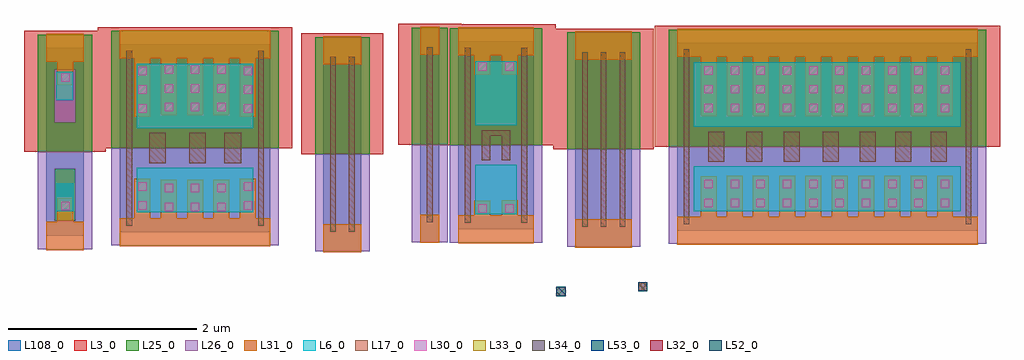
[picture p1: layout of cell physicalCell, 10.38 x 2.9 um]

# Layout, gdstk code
import gdstk
lib = gdstk.Library(unit=1e-6, precision=1e-09)
def R(c, l, rs):  # rectangles x0, y0, x1, y1
    for r in rs: c.add(gdstk.rectangle(r[:2], r[2:], *l))
def A(c, l, x, y, w, h, nx, ny, dx, dy):  # array of equal rectangles
    R(c, l, [(x+i*dx, y+j*dy, x+i*dx+w, y+j*dy+h) for i in range(nx) for j in range(ny)])
def P(c, l, *ps):  # polygons
    for p in ps: c.add(gdstk.Polygon(p, *l))
L3_0 = (3, 0)
L6_0 = (6, 0)
L17_0 = (17, 0)
L25_0 = (25, 0)
L26_0 = (26, 0)
L30_0 = (30, 0)
L31_0 = (31, 0)
L32_0 = (32, 0)
L33_0 = (33, 0)
L34_0 = (34, 0)
L52_0 = (52, 0)
L53_0 = (53, 0)
L108_0 = (108, 0)

dti_55g_10t_fillerx1 = lib.new_cell('dti_55g_10t_fillerx1')
R(dti_55g_10t_fillerx1, L3_0, [(-0.235,0.895,0.435,2.18)])
R(dti_55g_10t_fillerx1, L17_0, [(0.07,0.07,0.13,1.93)])
R(dti_55g_10t_fillerx1, L25_0, [(-0.09,0.895,0.29,2.14)])
R(dti_55g_10t_fillerx1, L26_0, [(-0.09,-0.14,0.29,0.895)])
R(dti_55g_10t_fillerx1, L31_0, [(0,-0.15,0.2,0.15), (0,1.85,0.2,2.15)])
R(dti_55g_10t_fillerx1, L108_0, [(0,-0.15,0.2,2.15)])
dti_55g_10t_fillerx1.add(gdstk.Label('& Metric 0.4', (0,0), layer=6, texttype=0))
dti_55g_10t_fillerx1.add(gdstk.Label('& _Instance_tag dti_55g_10t_fillerx1', (0,0), layer=6, texttype=0))
dti_55g_10t_fillerx1.add(gdstk.Label('& Product dti_tm55gp_stdcells$CLN55GPLUS-1.0-2.5-ACU-LK$SVT', (0,0), layer=6, texttype=0))
dti_55g_10t_fillerx1.add(gdstk.Label('& Version 1.0.0$T-N65-CL-DR-001-C1$2.4a$T-N55-CL-SP-010$V1.2', (0,0), layer=6, texttype=0))
dti_55g_10t_fillerx1.add(gdstk.Label('& Vendor Dolphin Technology, Inc.', (0,0), layer=6, texttype=0))
dti_55g_10t_fillerx1.add(gdstk.Label('& Metric 0.4', (0,0), layer=26, texttype=0))
dti_55g_10t_fillerx1.add(gdstk.Label('& _Instance_tag dti_55g_10t_fillerx1', (0,0), layer=26, texttype=0))
dti_55g_10t_fillerx1.add(gdstk.Label('& Product dti_tm55gp_stdcells$CLN55GPLUS-1.0-2.5-ACU-LK$SVT', (0,0), layer=26, texttype=0))
dti_55g_10t_fillerx1.add(gdstk.Label('& Version 1.0.0$T-N65-CL-DR-001-C1$2.4a$T-N55-CL-SP-010$V1.2', (0,0), layer=26, texttype=0))
dti_55g_10t_fillerx1.add(gdstk.Label('& Vendor Dolphin Technology, Inc.', (0,0), layer=26, texttype=0))
dti_55g_10t_fillerx1.add(gdstk.Label('& Metric 0.4', (0,0), layer=3, texttype=0))
dti_55g_10t_fillerx1.add(gdstk.Label('& _Instance_tag dti_55g_10t_fillerx1', (0,0), layer=3, texttype=0))
dti_55g_10t_fillerx1.add(gdstk.Label('& Product dti_tm55gp_stdcells$CLN55GPLUS-1.0-2.5-ACU-LK$SVT', (0,0), layer=3, texttype=0))
dti_55g_10t_fillerx1.add(gdstk.Label('& Version 1.0.0$T-N65-CL-DR-001-C1$2.4a$T-N55-CL-SP-010$V1.2', (0,0), layer=3, texttype=0))
dti_55g_10t_fillerx1.add(gdstk.Label('& Vendor Dolphin Technology, Inc.', (0,0), layer=3, texttype=0))
dti_55g_10t_fillerx1.add(gdstk.Label('& Metric 0.4', (0,0), layer=25, texttype=0))
dti_55g_10t_fillerx1.add(gdstk.Label('& _Instance_tag dti_55g_10t_fillerx1', (0,0), layer=25, texttype=0))
dti_55g_10t_fillerx1.add(gdstk.Label('& Product dti_tm55gp_stdcells$CLN55GPLUS-1.0-2.5-ACU-LK$SVT', (0,0), layer=25, texttype=0))
dti_55g_10t_fillerx1.add(gdstk.Label('& Version 1.0.0$T-N65-CL-DR-001-C1$2.4a$T-N55-CL-SP-010$V1.2', (0,0), layer=25, texttype=0))
dti_55g_10t_fillerx1.add(gdstk.Label('& Vendor Dolphin Technology, Inc.', (0,0), layer=25, texttype=0))
dti_55g_10t_fillerx1.add(gdstk.Label('VDD', (0.11,2), layer=131, texttype=0))
dti_55g_10t_fillerx1.add(gdstk.Label('VSS', (0.12,0), layer=131, texttype=0))
dti_55g_10t_fillerx1.add(gdstk.Label('& Metric 0.4', (0,0), layer=63, texttype=63))
dti_55g_10t_fillerx1.add(gdstk.Label('& _Instance_tag dti_55g_10t_fillerx1', (0,0), layer=63, texttype=63))
dti_55g_10t_fillerx1.add(gdstk.Label('& Product dti_tm55gp_stdcells$CLN55GPLUS-1.0-2.5-ACU-LK$SVT', (0,0), layer=63, texttype=63))
dti_55g_10t_fillerx1.add(gdstk.Label('& Version 1.0.0$T-N65-CL-DR-001-C1$2.4a$T-N55-CL-SP-010$V1.2', (0,0), layer=63, texttype=63))
dti_55g_10t_fillerx1.add(gdstk.Label('& Vendor Dolphin Technology, Inc.', (0,0), layer=63, texttype=63))

dti_55g_10t_fillerx4 = lib.new_cell('dti_55g_10t_fillerx4')
R(dti_55g_10t_fillerx4, L3_0, [(-0.235,0.895,1.035,2.18)])
R(dti_55g_10t_fillerx4, L6_0, [(0.18,0.16,0.62,0.685), (0.18,1.105,0.62,1.79)])
R(dti_55g_10t_fillerx4, L17_0, [(0.07,0.07,0.13,1.93), (0.67,0.07,0.73,1.93)])
P(dti_55g_10t_fillerx4, L17_0, [(0.25,0.735),(0.25,1.055),(0.55,1.055),(0.55,0.735),(0.46,0.735),(0.46,0.995),(0.34,0.995),(0.34,0.735)])
R(dti_55g_10t_fillerx4, L25_0, [(-0.09,0.895,0.89,2.14)])
R(dti_55g_10t_fillerx4, L26_0, [(-0.09,-0.14,0.89,0.895)])
R(dti_55g_10t_fillerx4, L30_0, [(0.21,0.175,0.3,0.265), (0.5,0.175,0.59,0.265), (0.21,1.685,0.3,1.775), (0.5,1.685,0.59,1.775)])
P(dti_55g_10t_fillerx4, L31_0, [(0,-0.15),(0,0.15),(0.17,0.15),(0.17,0.305),(0.34,0.305),(0.34,0.15),(0.46,0.15),(0.46,0.31),(0.63,0.31),(0.63,0.15),(0.8,0.15),(0.8,-0.15)],
  [(0.17,1.645),(0.17,1.85),(0,1.85),(0,2.15),(0.8,2.15),(0.8,1.85),(0.63,1.85),(0.63,1.645),(0.46,1.645),(0.46,1.85),(0.34,1.85),(0.34,1.645)])
R(dti_55g_10t_fillerx4, L108_0, [(0,0,0.8,2)])
dti_55g_10t_fillerx4.add(gdstk.Label('& Metric 1.6', (0,0), layer=6, texttype=0))
dti_55g_10t_fillerx4.add(gdstk.Label('& _Instance_tag dti_55g_10t_fillerx4', (0,0), layer=6, texttype=0))
dti_55g_10t_fillerx4.add(gdstk.Label('& Product dti_tm55gp_stdcells$CLN55GPLUS-1.0-2.5-ACU-LK$SVT', (0,0), layer=6, texttype=0))
dti_55g_10t_fillerx4.add(gdstk.Label('& Version 1.0.0$T-N65-CL-DR-001-C1$2.4a$T-N55-CL-SP-010$V1.2', (0,0), layer=6, texttype=0))
dti_55g_10t_fillerx4.add(gdstk.Label('& Vendor Dolphin Technology, Inc.', (0,0), layer=6, texttype=0))
dti_55g_10t_fillerx4.add(gdstk.Label('& Metric 1.6', (0,0), layer=26, texttype=0))
dti_55g_10t_fillerx4.add(gdstk.Label('& _Instance_tag dti_55g_10t_fillerx4', (0,0), layer=26, texttype=0))
dti_55g_10t_fillerx4.add(gdstk.Label('& Product dti_tm55gp_stdcells$CLN55GPLUS-1.0-2.5-ACU-LK$SVT', (0,0), layer=26, texttype=0))
dti_55g_10t_fillerx4.add(gdstk.Label('& Version 1.0.0$T-N65-CL-DR-001-C1$2.4a$T-N55-CL-SP-010$V1.2', (0,0), layer=26, texttype=0))
dti_55g_10t_fillerx4.add(gdstk.Label('& Vendor Dolphin Technology, Inc.', (0,0), layer=26, texttype=0))
dti_55g_10t_fillerx4.add(gdstk.Label('& Metric 1.6', (0,0), layer=3, texttype=0))
dti_55g_10t_fillerx4.add(gdstk.Label('& _Instance_tag dti_55g_10t_fillerx4', (0,0), layer=3, texttype=0))
dti_55g_10t_fillerx4.add(gdstk.Label('& Product dti_tm55gp_stdcells$CLN55GPLUS-1.0-2.5-ACU-LK$SVT', (0,0), layer=3, texttype=0))
dti_55g_10t_fillerx4.add(gdstk.Label('& Version 1.0.0$T-N65-CL-DR-001-C1$2.4a$T-N55-CL-SP-010$V1.2', (0,0), layer=3, texttype=0))
dti_55g_10t_fillerx4.add(gdstk.Label('& Vendor Dolphin Technology, Inc.', (0,0), layer=3, texttype=0))
dti_55g_10t_fillerx4.add(gdstk.Label('& Metric 1.6', (0,0), layer=25, texttype=0))
dti_55g_10t_fillerx4.add(gdstk.Label('& _Instance_tag dti_55g_10t_fillerx4', (0,0), layer=25, texttype=0))
dti_55g_10t_fillerx4.add(gdstk.Label('& Product dti_tm55gp_stdcells$CLN55GPLUS-1.0-2.5-ACU-LK$SVT', (0,0), layer=25, texttype=0))
dti_55g_10t_fillerx4.add(gdstk.Label('& Version 1.0.0$T-N65-CL-DR-001-C1$2.4a$T-N55-CL-SP-010$V1.2', (0,0), layer=25, texttype=0))
dti_55g_10t_fillerx4.add(gdstk.Label('& Vendor Dolphin Technology, Inc.', (0,0), layer=25, texttype=0))
dti_55g_10t_fillerx4.add(gdstk.Label('VSS', (0.12,0), layer=131, texttype=0))
dti_55g_10t_fillerx4.add(gdstk.Label('VDD', (0.12,2), layer=131, texttype=0))
dti_55g_10t_fillerx4.add(gdstk.Label('& Metric 1.6', (0,0), layer=63, texttype=63))
dti_55g_10t_fillerx4.add(gdstk.Label('& _Instance_tag dti_55g_10t_fillerx4', (0,0), layer=63, texttype=63))
dti_55g_10t_fillerx4.add(gdstk.Label('& Product dti_tm55gp_stdcells$CLN55GPLUS-1.0-2.5-ACU-LK$SVT', (0,0), layer=63, texttype=63))
dti_55g_10t_fillerx4.add(gdstk.Label('& Version 1.0.0$T-N65-CL-DR-001-C1$2.4a$T-N55-CL-SP-010$V1.2', (0,0), layer=63, texttype=63))
dti_55g_10t_fillerx4.add(gdstk.Label('& Vendor Dolphin Technology, Inc.', (0,0), layer=63, texttype=63))

dti_55g_10t_fillerx2 = lib.new_cell('dti_55g_10t_fillerx2')
R(dti_55g_10t_fillerx2, L3_0, [(-0.235,0.895,0.635,2.18)])
R(dti_55g_10t_fillerx2, L17_0, [(0.07,0.07,0.13,1.93), (0.27,0.07,0.33,1.93)])
R(dti_55g_10t_fillerx2, L25_0, [(-0.09,0.895,0.49,2.14)])
R(dti_55g_10t_fillerx2, L26_0, [(-0.09,-0.14,0.49,0.895)])
R(dti_55g_10t_fillerx2, L31_0, [(0,-0.15,0.4,0.15), (0,1.85,0.4,2.15)])
R(dti_55g_10t_fillerx2, L108_0, [(0,-0.15,0.4,2.15)])
dti_55g_10t_fillerx2.add(gdstk.Label('& Metric 0.8', (0,0), layer=6, texttype=0))
dti_55g_10t_fillerx2.add(gdstk.Label('& _Instance_tag dti_55g_10t_fillerx2', (0,0), layer=6, texttype=0))
dti_55g_10t_fillerx2.add(gdstk.Label('& Product dti_tm55gp_stdcells$CLN55GPLUS-1.0-2.5-ACU-LK$SVT', (0,0), layer=6, texttype=0))
dti_55g_10t_fillerx2.add(gdstk.Label('& Version 1.0.0$T-N65-CL-DR-001-C1$2.4a$T-N55-CL-SP-010$V1.2', (0,0), layer=6, texttype=0))
dti_55g_10t_fillerx2.add(gdstk.Label('& Vendor Dolphin Technology, Inc.', (0,0), layer=6, texttype=0))
dti_55g_10t_fillerx2.add(gdstk.Label('& Metric 0.8', (0,0), layer=26, texttype=0))
dti_55g_10t_fillerx2.add(gdstk.Label('& _Instance_tag dti_55g_10t_fillerx2', (0,0), layer=26, texttype=0))
dti_55g_10t_fillerx2.add(gdstk.Label('& Product dti_tm55gp_stdcells$CLN55GPLUS-1.0-2.5-ACU-LK$SVT', (0,0), layer=26, texttype=0))
dti_55g_10t_fillerx2.add(gdstk.Label('& Version 1.0.0$T-N65-CL-DR-001-C1$2.4a$T-N55-CL-SP-010$V1.2', (0,0), layer=26, texttype=0))
dti_55g_10t_fillerx2.add(gdstk.Label('& Vendor Dolphin Technology, Inc.', (0,0), layer=26, texttype=0))
dti_55g_10t_fillerx2.add(gdstk.Label('& Metric 0.8', (0,0), layer=3, texttype=0))
dti_55g_10t_fillerx2.add(gdstk.Label('& _Instance_tag dti_55g_10t_fillerx2', (0,0), layer=3, texttype=0))
dti_55g_10t_fillerx2.add(gdstk.Label('& Product dti_tm55gp_stdcells$CLN55GPLUS-1.0-2.5-ACU-LK$SVT', (0,0), layer=3, texttype=0))
dti_55g_10t_fillerx2.add(gdstk.Label('& Version 1.0.0$T-N65-CL-DR-001-C1$2.4a$T-N55-CL-SP-010$V1.2', (0,0), layer=3, texttype=0))
dti_55g_10t_fillerx2.add(gdstk.Label('& Vendor Dolphin Technology, Inc.', (0,0), layer=3, texttype=0))
dti_55g_10t_fillerx2.add(gdstk.Label('& Metric 0.8', (0,0), layer=25, texttype=0))
dti_55g_10t_fillerx2.add(gdstk.Label('& _Instance_tag dti_55g_10t_fillerx2', (0,0), layer=25, texttype=0))
dti_55g_10t_fillerx2.add(gdstk.Label('& Product dti_tm55gp_stdcells$CLN55GPLUS-1.0-2.5-ACU-LK$SVT', (0,0), layer=25, texttype=0))
dti_55g_10t_fillerx2.add(gdstk.Label('& Version 1.0.0$T-N65-CL-DR-001-C1$2.4a$T-N55-CL-SP-010$V1.2', (0,0), layer=25, texttype=0))
dti_55g_10t_fillerx2.add(gdstk.Label('& Vendor Dolphin Technology, Inc.', (0,0), layer=25, texttype=0))
dti_55g_10t_fillerx2.add(gdstk.Label('VDD', (0.11,2), layer=131, texttype=0))
dti_55g_10t_fillerx2.add(gdstk.Label('VSS', (0.12,0), layer=131, texttype=0))
dti_55g_10t_fillerx2.add(gdstk.Label('& Metric 0.8', (0,0), layer=63, texttype=63))
dti_55g_10t_fillerx2.add(gdstk.Label('& _Instance_tag dti_55g_10t_fillerx2', (0,0), layer=63, texttype=63))
dti_55g_10t_fillerx2.add(gdstk.Label('& Product dti_tm55gp_stdcells$CLN55GPLUS-1.0-2.5-ACU-LK$SVT', (0,0), layer=63, texttype=63))
dti_55g_10t_fillerx2.add(gdstk.Label('& Version 1.0.0$T-N65-CL-DR-001-C1$2.4a$T-N55-CL-SP-010$V1.2', (0,0), layer=63, texttype=63))
dti_55g_10t_fillerx2.add(gdstk.Label('& Vendor Dolphin Technology, Inc.', (0,0), layer=63, texttype=63))

dti_55g_10t_fillerx8 = lib.new_cell('dti_55g_10t_fillerx8')
R(dti_55g_10t_fillerx8, L3_0, [(-0.235,0.895,1.835,2.18)])
R(dti_55g_10t_fillerx8, L6_0, [(0.18,0.21,1.42,0.685), (0.18,1.105,1.42,1.79)])
R(dti_55g_10t_fillerx8, L17_0, [(0.07,0.07,0.13,1.93), (1.47,0.07,1.53,1.93), (0.31,0.735,0.49,1.055), (0.735,0.735,0.915,1.055), (1.11,0.735,1.29,1.055)])
R(dti_55g_10t_fillerx8, L25_0, [(-0.09,0.895,1.69,2.14)])
R(dti_55g_10t_fillerx8, L26_0, [(-0.09,-0.14,1.69,0.895)])
A(dti_55g_10t_fillerx8, L30_0, 0.475, 0.225, 0.09, 0.09, 3, 2, 0.28, 0.2)
A(dti_55g_10t_fillerx8, L30_0, 0.195, 1.27, 0.09, 0.09, 1, 3, 0, 0.2)
A(dti_55g_10t_fillerx8, L30_0, 1.315, 1.27, 0.09, 0.09, 1, 3, 0, 0.2)
A(dti_55g_10t_fillerx8, L30_0, 0.475, 1.285, 0.09, 0.09, 3, 3, 0.28, 0.2)
R(dti_55g_10t_fillerx8, L30_0, [(0.195,0.24,0.285,0.33), (1.315,0.24,1.405,0.33), (0.195,0.44,0.285,0.53), (1.315,0.44,1.405,0.53)])
P(dti_55g_10t_fillerx8, L31_0, [(0,-0.15),(0,0.15),(0.155,0.15),(0.155,0.57),(0.325,0.57),(0.325,0.15),(0.435,0.15),(0.435,0.555),(0.605,0.555),(0.605,0.15),(0.715,0.15),(0.715,0.555),(0.885,0.555),(0.885,0.15),(0.995,0.15),(0.995,0.555),(1.165,0.555),(1.165,0.15),(1.275,0.15),(1.275,0.57),(1.445,0.57),(1.445,0.15),(1.6,0.15),(1.6,-0.15)],
  [(0.155,1.23),(0.155,1.85),(0,1.85),(0,2.15),(1.6,2.15),(1.6,1.85),(1.445,1.85),(1.445,1.23),(1.275,1.23),(1.275,1.85),(1.165,1.85),(1.165,1.245),(0.995,1.245),(0.995,1.85),(0.885,1.85),(0.885,1.245),(0.715,1.245),(0.715,1.85),(0.605,1.85),(0.605,1.245),(0.435,1.245),(0.435,1.85),(0.325,1.85),(0.325,1.23)])
R(dti_55g_10t_fillerx8, L108_0, [(0,0,1.6,2)])
dti_55g_10t_fillerx8.add(gdstk.Label('& Metric 3.2', (0,0), layer=6, texttype=0))
dti_55g_10t_fillerx8.add(gdstk.Label('& _Instance_tag dti_55g_10t_fillerx8', (0,0), layer=6, texttype=0))
dti_55g_10t_fillerx8.add(gdstk.Label('& Product dti_tm55gp_stdcells$CLN55GPLUS-1.0-2.5-ACU-LK$SVT', (0,0), layer=6, texttype=0))
dti_55g_10t_fillerx8.add(gdstk.Label('& Version 1.0.0$T-N65-CL-DR-001-C1$2.4a$T-N55-CL-SP-010$V1.2', (0,0), layer=6, texttype=0))
dti_55g_10t_fillerx8.add(gdstk.Label('& Vendor Dolphin Technology, Inc.', (0,0), layer=6, texttype=0))
dti_55g_10t_fillerx8.add(gdstk.Label('& Metric 3.2', (0,0), layer=26, texttype=0))
dti_55g_10t_fillerx8.add(gdstk.Label('& _Instance_tag dti_55g_10t_fillerx8', (0,0), layer=26, texttype=0))
dti_55g_10t_fillerx8.add(gdstk.Label('& Product dti_tm55gp_stdcells$CLN55GPLUS-1.0-2.5-ACU-LK$SVT', (0,0), layer=26, texttype=0))
dti_55g_10t_fillerx8.add(gdstk.Label('& Version 1.0.0$T-N65-CL-DR-001-C1$2.4a$T-N55-CL-SP-010$V1.2', (0,0), layer=26, texttype=0))
dti_55g_10t_fillerx8.add(gdstk.Label('& Vendor Dolphin Technology, Inc.', (0,0), layer=26, texttype=0))
dti_55g_10t_fillerx8.add(gdstk.Label('& Metric 3.2', (0,0), layer=3, texttype=0))
dti_55g_10t_fillerx8.add(gdstk.Label('& _Instance_tag dti_55g_10t_fillerx8', (0,0), layer=3, texttype=0))
dti_55g_10t_fillerx8.add(gdstk.Label('& Product dti_tm55gp_stdcells$CLN55GPLUS-1.0-2.5-ACU-LK$SVT', (0,0), layer=3, texttype=0))
dti_55g_10t_fillerx8.add(gdstk.Label('& Version 1.0.0$T-N65-CL-DR-001-C1$2.4a$T-N55-CL-SP-010$V1.2', (0,0), layer=3, texttype=0))
dti_55g_10t_fillerx8.add(gdstk.Label('& Vendor Dolphin Technology, Inc.', (0,0), layer=3, texttype=0))
dti_55g_10t_fillerx8.add(gdstk.Label('& Metric 3.2', (0,0), layer=25, texttype=0))
dti_55g_10t_fillerx8.add(gdstk.Label('& _Instance_tag dti_55g_10t_fillerx8', (0,0), layer=25, texttype=0))
dti_55g_10t_fillerx8.add(gdstk.Label('& Product dti_tm55gp_stdcells$CLN55GPLUS-1.0-2.5-ACU-LK$SVT', (0,0), layer=25, texttype=0))
dti_55g_10t_fillerx8.add(gdstk.Label('& Version 1.0.0$T-N65-CL-DR-001-C1$2.4a$T-N55-CL-SP-010$V1.2', (0,0), layer=25, texttype=0))
dti_55g_10t_fillerx8.add(gdstk.Label('& Vendor Dolphin Technology, Inc.', (0,0), layer=25, texttype=0))
dti_55g_10t_fillerx8.add(gdstk.Label('VSS', (0.12,0), layer=131, texttype=0))
dti_55g_10t_fillerx8.add(gdstk.Label('VDD', (0.125,2), layer=131, texttype=0))
dti_55g_10t_fillerx8.add(gdstk.Label('& Metric 3.2', (0,0), layer=63, texttype=63))
dti_55g_10t_fillerx8.add(gdstk.Label('& _Instance_tag dti_55g_10t_fillerx8', (0,0), layer=63, texttype=63))
dti_55g_10t_fillerx8.add(gdstk.Label('& Product dti_tm55gp_stdcells$CLN55GPLUS-1.0-2.5-ACU-LK$SVT', (0,0), layer=63, texttype=63))
dti_55g_10t_fillerx8.add(gdstk.Label('& Version 1.0.0$T-N65-CL-DR-001-C1$2.4a$T-N55-CL-SP-010$V1.2', (0,0), layer=63, texttype=63))
dti_55g_10t_fillerx8.add(gdstk.Label('& Vendor Dolphin Technology, Inc.', (0,0), layer=63, texttype=63))

dti_55g_10t_fillerx3 = lib.new_cell('dti_55g_10t_fillerx3')
R(dti_55g_10t_fillerx3, L3_0, [(-0.235,0.895,0.835,2.18)])
A(dti_55g_10t_fillerx3, L17_0, 0.07, 0.07, 0.06, 1.86, 3, 1, 0.2, 0)
R(dti_55g_10t_fillerx3, L25_0, [(-0.09,0.895,0.69,2.14)])
R(dti_55g_10t_fillerx3, L26_0, [(-0.09,-0.14,0.69,0.895)])
R(dti_55g_10t_fillerx3, L31_0, [(0,-0.15,0.6,0.15), (0,1.85,0.6,2.15)])
R(dti_55g_10t_fillerx3, L108_0, [(0,-0.15,0.6,2.15)])
dti_55g_10t_fillerx3.add(gdstk.Label('& Metric 1.2', (0,0), layer=6, texttype=0))
dti_55g_10t_fillerx3.add(gdstk.Label('& _Instance_tag dti_55g_10t_fillerx3', (0,0), layer=6, texttype=0))
dti_55g_10t_fillerx3.add(gdstk.Label('& Product dti_tm55gp_stdcells$CLN55GPLUS-1.0-2.5-ACU-LK$SVT', (0,0), layer=6, texttype=0))
dti_55g_10t_fillerx3.add(gdstk.Label('& Version 1.0.0$T-N65-CL-DR-001-C1$2.4a$T-N55-CL-SP-010$V1.2', (0,0), layer=6, texttype=0))
dti_55g_10t_fillerx3.add(gdstk.Label('& Vendor Dolphin Technology, Inc.', (0,0), layer=6, texttype=0))
dti_55g_10t_fillerx3.add(gdstk.Label('& Metric 1.2', (0,0), layer=26, texttype=0))
dti_55g_10t_fillerx3.add(gdstk.Label('& _Instance_tag dti_55g_10t_fillerx3', (0,0), layer=26, texttype=0))
dti_55g_10t_fillerx3.add(gdstk.Label('& Product dti_tm55gp_stdcells$CLN55GPLUS-1.0-2.5-ACU-LK$SVT', (0,0), layer=26, texttype=0))
dti_55g_10t_fillerx3.add(gdstk.Label('& Version 1.0.0$T-N65-CL-DR-001-C1$2.4a$T-N55-CL-SP-010$V1.2', (0,0), layer=26, texttype=0))
dti_55g_10t_fillerx3.add(gdstk.Label('& Vendor Dolphin Technology, Inc.', (0,0), layer=26, texttype=0))
dti_55g_10t_fillerx3.add(gdstk.Label('& Metric 1.2', (0,0), layer=3, texttype=0))
dti_55g_10t_fillerx3.add(gdstk.Label('& _Instance_tag dti_55g_10t_fillerx3', (0,0), layer=3, texttype=0))
dti_55g_10t_fillerx3.add(gdstk.Label('& Product dti_tm55gp_stdcells$CLN55GPLUS-1.0-2.5-ACU-LK$SVT', (0,0), layer=3, texttype=0))
dti_55g_10t_fillerx3.add(gdstk.Label('& Version 1.0.0$T-N65-CL-DR-001-C1$2.4a$T-N55-CL-SP-010$V1.2', (0,0), layer=3, texttype=0))
dti_55g_10t_fillerx3.add(gdstk.Label('& Vendor Dolphin Technology, Inc.', (0,0), layer=3, texttype=0))
dti_55g_10t_fillerx3.add(gdstk.Label('& Metric 1.2', (0,0), layer=25, texttype=0))
dti_55g_10t_fillerx3.add(gdstk.Label('& _Instance_tag dti_55g_10t_fillerx3', (0,0), layer=25, texttype=0))
dti_55g_10t_fillerx3.add(gdstk.Label('& Product dti_tm55gp_stdcells$CLN55GPLUS-1.0-2.5-ACU-LK$SVT', (0,0), layer=25, texttype=0))
dti_55g_10t_fillerx3.add(gdstk.Label('& Version 1.0.0$T-N65-CL-DR-001-C1$2.4a$T-N55-CL-SP-010$V1.2', (0,0), layer=25, texttype=0))
dti_55g_10t_fillerx3.add(gdstk.Label('& Vendor Dolphin Technology, Inc.', (0,0), layer=25, texttype=0))
dti_55g_10t_fillerx3.add(gdstk.Label('VDD', (0.11,2), layer=131, texttype=0))
dti_55g_10t_fillerx3.add(gdstk.Label('VSS', (0.12,0), layer=131, texttype=0))
dti_55g_10t_fillerx3.add(gdstk.Label('& Metric 1.2', (0,0), layer=63, texttype=63))
dti_55g_10t_fillerx3.add(gdstk.Label('& _Instance_tag dti_55g_10t_fillerx3', (0,0), layer=63, texttype=63))
dti_55g_10t_fillerx3.add(gdstk.Label('& Product dti_tm55gp_stdcells$CLN55GPLUS-1.0-2.5-ACU-LK$SVT', (0,0), layer=63, texttype=63))
dti_55g_10t_fillerx3.add(gdstk.Label('& Version 1.0.0$T-N65-CL-DR-001-C1$2.4a$T-N55-CL-SP-010$V1.2', (0,0), layer=63, texttype=63))
dti_55g_10t_fillerx3.add(gdstk.Label('& Vendor Dolphin Technology, Inc.', (0,0), layer=63, texttype=63))

dti_55g_10t_fillerx16 = lib.new_cell('dti_55g_10t_fillerx16')
R(dti_55g_10t_fillerx16, L3_0, [(-0.235,0.895,3.435,2.18)])
R(dti_55g_10t_fillerx16, L6_0, [(0.18,0.21,3.02,0.685), (0.18,1.105,3.02,1.79)])
R(dti_55g_10t_fillerx16, L17_0, [(0.07,0.07,0.13,1.93), (3.07,0.07,3.13,1.93), (0.33,0.735,0.5,1.055), (0.735,0.735,0.905,1.055), (1.135,0.735,1.305,1.055), (1.55,0.735,1.72,1.055), (1.945,0.735,2.115,1.055), (2.32,0.735,2.49,1.055), (2.7,0.735,2.87,1.055)])
R(dti_55g_10t_fillerx16, L25_0, [(-0.09,0.895,3.29,2.14)])
R(dti_55g_10t_fillerx16, L26_0, [(-0.09,-0.14,3.29,0.895)])
A(dti_55g_10t_fillerx16, L30_0, 0.845, 0.25, 0.09, 0.09, 8, 2, 0.28, 0.2)
A(dti_55g_10t_fillerx16, L30_0, 0.29, 1.26, 0.09, 0.09, 1, 3, 0, 0.2)
A(dti_55g_10t_fillerx16, L30_0, 0.57, 1.26, 0.09, 0.09, 1, 3, 0, 0.2)
A(dti_55g_10t_fillerx16, L30_0, 0.845, 1.26, 0.09, 0.09, 8, 3, 0.28, 0.2)
R(dti_55g_10t_fillerx16, L30_0, [(0.29,0.25,0.38,0.34), (0.57,0.25,0.66,0.34), (0.29,0.45,0.38,0.54), (0.57,0.45,0.66,0.54)])
P(dti_55g_10t_fillerx16, L31_0, [(0,-0.15),(0,0.15),(0.25,0.15),(0.25,0.58),(0.42,0.58),(0.42,0.15),(0.53,0.15),(0.53,0.585),(0.7,0.585),(0.7,0.15),(0.805,0.15),(0.805,0.585),(0.975,0.585),(0.975,0.15),(1.085,0.15),(1.085,0.585),(1.255,0.585),(1.255,0.15),(1.365,0.15),(1.365,0.585),(1.535,0.585),(1.535,0.15),(1.645,0.15),(1.645,0.585),(1.815,0.585),(1.815,0.15),(1.925,0.15),(1.925,0.585),(2.095,0.585),(2.095,0.15),(2.205,0.15),(2.205,0.585),(2.375,0.585),(2.375,0.15),(2.485,0.15),(2.485,0.585),(2.655,0.585),(2.655,0.15),(2.765,0.15),(2.765,0.585),(2.935,0.585),(2.935,0.15),(3.2,0.15),(3.2,-0.15)],
  [(0.25,1.22),(0.25,1.85),(0,1.85),(0,2.15),(3.2,2.15),(3.2,1.85),(2.935,1.85),(2.935,1.22),(2.765,1.22),(2.765,1.85),(2.655,1.85),(2.655,1.22),(2.485,1.22),(2.485,1.85),(2.375,1.85),(2.375,1.22),(2.205,1.22),(2.205,1.85),(2.095,1.85),(2.095,1.22),(1.925,1.22),(1.925,1.85),(1.815,1.85),(1.815,1.22),(1.645,1.22),(1.645,1.85),(1.535,1.85),(1.535,1.22),(1.365,1.22),(1.365,1.85),(1.255,1.85),(1.255,1.22),(1.085,1.22),(1.085,1.85),(0.975,1.85),(0.975,1.22),(0.805,1.22),(0.805,1.85),(0.7,1.85),(0.7,1.22),(0.53,1.22),(0.53,1.85),(0.42,1.85),(0.42,1.22)])
R(dti_55g_10t_fillerx16, L108_0, [(0,0,3.2,2)])
dti_55g_10t_fillerx16.add(gdstk.Label('& Metric 6.4', (0,0), layer=6, texttype=0))
dti_55g_10t_fillerx16.add(gdstk.Label('& _Instance_tag dti_55g_10t_fillerx16', (0,0), layer=6, texttype=0))
dti_55g_10t_fillerx16.add(gdstk.Label('& Product dti_tm55gp_stdcells$CLN55GPLUS-1.0-2.5-ACU-LK$SVT', (0,0), layer=6, texttype=0))
dti_55g_10t_fillerx16.add(gdstk.Label('& Version 1.0.0$T-N65-CL-DR-001-C1$2.4a$T-N55-CL-SP-010$V1.2', (0,0), layer=6, texttype=0))
dti_55g_10t_fillerx16.add(gdstk.Label('& Vendor Dolphin Technology, Inc.', (0,0), layer=6, texttype=0))
dti_55g_10t_fillerx16.add(gdstk.Label('& Metric 6.4', (0,0), layer=26, texttype=0))
dti_55g_10t_fillerx16.add(gdstk.Label('& _Instance_tag dti_55g_10t_fillerx16', (0,0), layer=26, texttype=0))
dti_55g_10t_fillerx16.add(gdstk.Label('& Product dti_tm55gp_stdcells$CLN55GPLUS-1.0-2.5-ACU-LK$SVT', (0,0), layer=26, texttype=0))
dti_55g_10t_fillerx16.add(gdstk.Label('& Version 1.0.0$T-N65-CL-DR-001-C1$2.4a$T-N55-CL-SP-010$V1.2', (0,0), layer=26, texttype=0))
dti_55g_10t_fillerx16.add(gdstk.Label('& Vendor Dolphin Technology, Inc.', (0,0), layer=26, texttype=0))
dti_55g_10t_fillerx16.add(gdstk.Label('& Metric 6.4', (0,0), layer=3, texttype=0))
dti_55g_10t_fillerx16.add(gdstk.Label('& _Instance_tag dti_55g_10t_fillerx16', (0,0), layer=3, texttype=0))
dti_55g_10t_fillerx16.add(gdstk.Label('& Product dti_tm55gp_stdcells$CLN55GPLUS-1.0-2.5-ACU-LK$SVT', (0,0), layer=3, texttype=0))
dti_55g_10t_fillerx16.add(gdstk.Label('& Version 1.0.0$T-N65-CL-DR-001-C1$2.4a$T-N55-CL-SP-010$V1.2', (0,0), layer=3, texttype=0))
dti_55g_10t_fillerx16.add(gdstk.Label('& Vendor Dolphin Technology, Inc.', (0,0), layer=3, texttype=0))
dti_55g_10t_fillerx16.add(gdstk.Label('& Metric 6.4', (0,0), layer=25, texttype=0))
dti_55g_10t_fillerx16.add(gdstk.Label('& _Instance_tag dti_55g_10t_fillerx16', (0,0), layer=25, texttype=0))
dti_55g_10t_fillerx16.add(gdstk.Label('& Product dti_tm55gp_stdcells$CLN55GPLUS-1.0-2.5-ACU-LK$SVT', (0,0), layer=25, texttype=0))
dti_55g_10t_fillerx16.add(gdstk.Label('& Version 1.0.0$T-N65-CL-DR-001-C1$2.4a$T-N55-CL-SP-010$V1.2', (0,0), layer=25, texttype=0))
dti_55g_10t_fillerx16.add(gdstk.Label('& Vendor Dolphin Technology, Inc.', (0,0), layer=25, texttype=0))
dti_55g_10t_fillerx16.add(gdstk.Label('VSS', (0.12,0), layer=131, texttype=0))
dti_55g_10t_fillerx16.add(gdstk.Label('VDD', (0.135,2), layer=131, texttype=0))
dti_55g_10t_fillerx16.add(gdstk.Label('& Metric 6.4', (0,0), layer=63, texttype=63))
dti_55g_10t_fillerx16.add(gdstk.Label('& _Instance_tag dti_55g_10t_fillerx16', (0,0), layer=63, texttype=63))
dti_55g_10t_fillerx16.add(gdstk.Label('& Product dti_tm55gp_stdcells$CLN55GPLUS-1.0-2.5-ACU-LK$SVT', (0,0), layer=63, texttype=63))
dti_55g_10t_fillerx16.add(gdstk.Label('& Version 1.0.0$T-N65-CL-DR-001-C1$2.4a$T-N55-CL-SP-010$V1.2', (0,0), layer=63, texttype=63))
dti_55g_10t_fillerx16.add(gdstk.Label('& Vendor Dolphin Technology, Inc.', (0,0), layer=63, texttype=63))

dti_55g_10t_tapx4 = lib.new_cell('dti_55g_10t_tapx4')
R(dti_55g_10t_tapx4, L3_0, [(-0.235,0.895,0.635,2.18)])
R(dti_55g_10t_tapx4, L6_0, [(0.11,0.26,0.29,0.56), (0.11,1.445,0.29,1.745)])
R(dti_55g_10t_tapx4, L25_0, [(0.09,0.16,0.31,0.715)])
P(dti_55g_10t_tapx4, L25_0, [(-0.09,0.895),(-0.09,2.14),(0.31,2.14),(0.31,1.765),(0.09,1.765),(0.09,1.21),(0.31,1.21),(0.31,2.14),(0.49,2.14),(0.49,0.895)])
R(dti_55g_10t_tapx4, L26_0, [(0.09,1.21,0.31,1.765)])
P(dti_55g_10t_tapx4, L26_0, [(-0.09,-0.14),(-0.09,0.895),(0.31,0.895),(0.31,0.715),(0.09,0.715),(0.09,0.16),(0.31,0.16),(0.31,0.895),(0.49,0.895),(0.49,-0.14)])
R(dti_55g_10t_tapx4, L30_0, [(0.16,0.275,0.25,0.365), (0.16,1.64,0.25,1.73)])
P(dti_55g_10t_tapx4, L31_0, [(0,-0.15),(0,0.15),(0.12,0.15),(0.12,0.405),(0.29,0.405),(0.29,0.15),(0.4,0.15),(0.4,-0.15)],
  [(0.12,1.6),(0.12,1.85),(0,1.85),(0,2.15),(0.4,2.15),(0.4,1.85),(0.29,1.85),(0.29,1.6)])
R(dti_55g_10t_tapx4, L108_0, [(0,0,0.4,2)])
dti_55g_10t_tapx4.add(gdstk.Label('& Metric 0.8', (0,0), layer=6, texttype=0))
dti_55g_10t_tapx4.add(gdstk.Label('& _Instance_tag dti_55g_10t_tapx4', (0,0), layer=6, texttype=0))
dti_55g_10t_tapx4.add(gdstk.Label('& Product dti_tm55gp_stdcells$CLN55GPLUS-1.0-2.5-ACU-LK$SVT', (0,0), layer=6, texttype=0))
dti_55g_10t_tapx4.add(gdstk.Label('& Version 2.0.0$T-N65-CL-DR-001-C1$2.4a$T-N55-CL-SP-010$V1.2', (0,0), layer=6, texttype=0))
dti_55g_10t_tapx4.add(gdstk.Label('& Vendor Dolphin Technology, Inc.', (0,0), layer=6, texttype=0))
dti_55g_10t_tapx4.add(gdstk.Label('& Metric 0.8', (0,0), layer=26, texttype=0))
dti_55g_10t_tapx4.add(gdstk.Label('& _Instance_tag dti_55g_10t_tapx4', (0,0), layer=26, texttype=0))
dti_55g_10t_tapx4.add(gdstk.Label('& Product dti_tm55gp_stdcells$CLN55GPLUS-1.0-2.5-ACU-LK$SVT', (0,0), layer=26, texttype=0))
dti_55g_10t_tapx4.add(gdstk.Label('& Version 2.0.0$T-N65-CL-DR-001-C1$2.4a$T-N55-CL-SP-010$V1.2', (0,0), layer=26, texttype=0))
dti_55g_10t_tapx4.add(gdstk.Label('& Vendor Dolphin Technology, Inc.', (0,0), layer=26, texttype=0))
dti_55g_10t_tapx4.add(gdstk.Label('& Metric 0.8', (0,0), layer=3, texttype=0))
dti_55g_10t_tapx4.add(gdstk.Label('& _Instance_tag dti_55g_10t_tapx4', (0,0), layer=3, texttype=0))
dti_55g_10t_tapx4.add(gdstk.Label('& Product dti_tm55gp_stdcells$CLN55GPLUS-1.0-2.5-ACU-LK$SVT', (0,0), layer=3, texttype=0))
dti_55g_10t_tapx4.add(gdstk.Label('& Version 2.0.0$T-N65-CL-DR-001-C1$2.4a$T-N55-CL-SP-010$V1.2', (0,0), layer=3, texttype=0))
dti_55g_10t_tapx4.add(gdstk.Label('& Vendor Dolphin Technology, Inc.', (0,0), layer=3, texttype=0))
dti_55g_10t_tapx4.add(gdstk.Label('& Metric 0.8', (0,0), layer=25, texttype=0))
dti_55g_10t_tapx4.add(gdstk.Label('& _Instance_tag dti_55g_10t_tapx4', (0,0), layer=25, texttype=0))
dti_55g_10t_tapx4.add(gdstk.Label('& Product dti_tm55gp_stdcells$CLN55GPLUS-1.0-2.5-ACU-LK$SVT', (0,0), layer=25, texttype=0))
dti_55g_10t_tapx4.add(gdstk.Label('& Version 2.0.0$T-N65-CL-DR-001-C1$2.4a$T-N55-CL-SP-010$V1.2', (0,0), layer=25, texttype=0))
dti_55g_10t_tapx4.add(gdstk.Label('& Vendor Dolphin Technology, Inc.', (0,0), layer=25, texttype=0))
dti_55g_10t_tapx4.add(gdstk.Label('VSS', (0.12,0), layer=131, texttype=0))
dti_55g_10t_tapx4.add(gdstk.Label('VDD', (0.12,2), layer=131, texttype=0))
dti_55g_10t_tapx4.add(gdstk.Label('& Metric 0.8', (0,0), layer=63, texttype=63))
dti_55g_10t_tapx4.add(gdstk.Label('& _Instance_tag dti_55g_10t_tapx4', (0,0), layer=63, texttype=63))
dti_55g_10t_tapx4.add(gdstk.Label('& Product dti_tm55gp_stdcells$CLN55GPLUS-1.0-2.5-ACU-LK$SVT', (0,0), layer=63, texttype=63))
dti_55g_10t_tapx4.add(gdstk.Label('& Version 2.0.0$T-N65-CL-DR-001-C1$2.4a$T-N55-CL-SP-010$V1.2', (0,0), layer=63, texttype=63))
dti_55g_10t_tapx4.add(gdstk.Label('& Vendor Dolphin Technology, Inc.', (0,0), layer=63, texttype=63))

via34_1cut = lib.new_cell('VIA34_1cut')
R(via34_1cut, L33_0, [(-0.05,-0.05,0.05,0.05)])
R(via34_1cut, L34_0, [(-0.05,-0.05,0.05,0.05)])
R(via34_1cut, L53_0, [(-0.05,-0.05,0.05,0.05)])

via23_1cut = lib.new_cell('VIA23_1cut')
R(via23_1cut, L32_0, [(-0.05,-0.05,0.05,0.05)])
R(via23_1cut, L33_0, [(-0.05,-0.05,0.05,0.05)])
R(via23_1cut, L52_0, [(-0.05,-0.05,0.05,0.05)])

physicalcell = lib.new_cell('physicalCell')
physicalcell.add(gdstk.Reference(dti_55g_10t_fillerx1, (0,0)))
physicalcell.add(gdstk.Reference(dti_55g_10t_fillerx4, (0.405,-0.005)))
physicalcell.add(gdstk.Reference(dti_55g_10t_fillerx2, (-1.03,-0.1)))
physicalcell.add(gdstk.Reference(dti_55g_10t_fillerx8, (-3.195,-0.035)))
physicalcell.add(gdstk.Reference(dti_55g_10t_fillerx3, (1.65,-0.05)))
physicalcell.add(gdstk.Reference(dti_55g_10t_fillerx16, (2.73,-0.02)))
physicalcell.add(gdstk.Reference(dti_55g_10t_tapx4, (-3.98,-0.075)))
physicalcell.add(gdstk.Reference(via34_1cut, (1.498,-0.665)))
physicalcell.add(gdstk.Reference(via23_1cut, (2.366,-0.616)))

lib.write_gds('physicalCell.gds')
